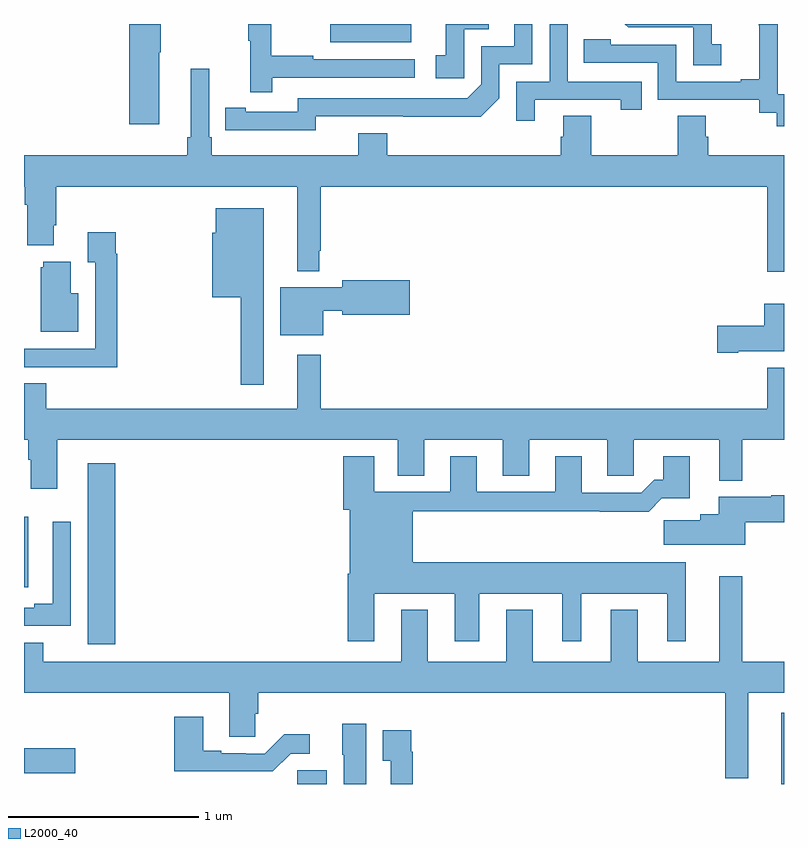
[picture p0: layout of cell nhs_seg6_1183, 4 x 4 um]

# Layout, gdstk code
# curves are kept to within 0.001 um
import gdstk
lib = gdstk.Library(unit=1e-6, precision=1e-09)
def R(c, l, rs):  # rectangles x0, y0, x1, y1
    for r in rs: c.add(gdstk.rectangle(r[:2], r[2:], *l))
def P(c, l, *ps):  # polygons
    for p in ps: c.add(gdstk.Polygon(p, *l))
L2000_40 = (2000, 40)

nhs_seg6_1183 = lib.new_cell('nhs_seg6_1183')
R(nhs_seg6_1183, L2000_40, [(184.438,969.5,184.594,969.573), (186.986,969.5,187,969.874), (183,969.557,183.271,969.687), (183.335,970.236,183.479,971.188), (183,970.535,183.022,970.906), (184.611,973.403,185.038,973.5)])
P(nhs_seg6_1183, L2000_40, [(187,973.131),(186.966,973.131),(186.966,973.361),(186.968,973.361),(186.968,973.5),(186.868,973.5),(186.868,973.493),(186.869,973.493),(186.869,973.21),(186.773,973.21),(186.773,973.197),(186.432,973.197),(186.432,973.392),(186.087,973.392),(186.087,973.419),(185.947,973.419),(185.947,973.296),(186.336,973.296),(186.336,973.101),(186.87,973.101),(186.87,973.033),(186.963,973.033),(186.963,972.963),(187,972.963)],
  [(184.536,973.014),(185.404,973.013),(185.502,973.11),(185.502,973.287),(185.676,973.287),(185.676,973.5),(185.579,973.5),(185.579,973.383),(185.406,973.383),(185.406,973.182),(185.334,973.11),(184.44,973.11),(184.44,973.038),(184.168,973.038),(184.168,973.058),(184.06,973.058),(184.06,972.942),(184.536,972.941)],
  [(184.307,973.218),(185.056,973.218),(185.056,973.314),(184.523,973.314),(184.523,973.334),(184.3,973.334),(184.3,973.5),(184.179,973.5),(184.179,973.411),(184.19,973.411),(184.19,973.14),(184.307,973.14)],
  [(183.712,973.351),(183.72,973.351),(183.72,973.5),(183.554,973.5),(183.554,972.972),(183.712,972.972)],
  [(185.689,973.101),(186.14,973.101),(186.14,973.05),(186.251,973.05),(186.251,973.197),(185.862,973.197),(185.862,973.5),(185.766,973.5),(185.766,973.197),(185.592,973.197),(185.592,972.99),(185.689,972.99)],
  [(186.67,973.393),(186.621,973.393),(186.621,973.5),(186.162,973.5),(186.18,973.482),(186.522,973.482),(186.522,973.284),(186.67,973.284)],
  [(185.316,973.473),(185.445,973.473),(185.445,973.5),(185.219,973.5),(185.219,973.335),(185.166,973.335),(185.166,973.215),(185.316,973.215)],
  [(187,972.808),(186.602,972.808),(186.602,972.906),(186.589,972.906),(186.589,973.016),(186.442,973.016),(186.442,972.808),(185.985,972.808),(185.985,973.016),(185.837,973.016),(185.837,972.906),(185.825,972.906),(185.825,972.808),(184.913,972.808),(184.913,972.925),(184.76,972.925),(184.76,972.808),(183.989,972.808),(183.989,972.904),(183.975,972.904),(183.975,973.264),(183.878,973.264),(183.878,972.904),(183.859,972.904),(183.859,972.808),(183,972.808),(183,972.644),(183.005,972.644),(183.005,972.548),(183.017,972.548),(183.017,972.335),(183.157,972.335),(183.157,972.442),(183.17,972.442),(183.17,972.644),(184.439,972.644),(184.439,972.2),(184.554,972.2),(184.554,972.307),(184.561,972.307),(184.561,972.644),(186.912,972.644),(186.912,972.195),(187,972.195)],
  [(184.261,972.529),(184.01,972.529),(184.01,972.402),(183.992,972.402),(183.992,972.062),(184.14,972.062),(184.14,971.601),(184.261,971.601)],
  [(183.491,972.29),(183.484,972.29),(183.484,972.403),(183.335,972.403),(183.335,972.247),(183.375,972.247),(183.375,971.79),(183,971.79),(183,971.694),(183.199,971.694),(183.199,971.693),(183.491,971.693)],
  [(183.286,972.082),(183.247,972.082),(183.247,972.25),(183.101,972.25),(183.101,972.219),(183.089,972.219),(183.089,971.879),(183.286,971.879)],
  [(184.576,971.992),(184.676,971.992),(184.676,971.969),(185.029,971.969),(185.029,972.152),(184.676,972.152),(184.676,972.115),(184.349,972.115),(184.349,971.861),(184.576,971.861)],
  [(186.76,971.777),(187,971.777),(187,972.028),(186.896,972.028),(186.896,971.912),(186.648,971.912),(186.648,971.77),(186.76,971.77)],
  [(183.175,971.312),(184.967,971.312),(184.967,971.122),(185.107,971.122),(185.107,971.312),(185.519,971.312),(185.519,971.122),(185.659,971.122),(185.659,971.312),(186.071,971.312),(186.071,971.122),(186.21,971.122),(186.21,971.312),(186.659,971.312),(186.659,971.096),(186.781,971.096),(186.781,971.312),(187,971.312),(187,971.692),(186.912,971.692),(186.912,971.476),(184.561,971.476),(184.561,971.758),(184.439,971.758),(184.439,971.476),(183.116,971.476),(183.116,971.609),(183,971.609),(183,971.312),(183.023,971.312),(183.023,971.206),(183.035,971.206),(183.035,971.055),(183.175,971.055)],
  [(184.843,970.502),(185.267,970.502),(185.267,970.251),(185.395,970.251),(185.395,970.502),(185.834,970.502),(185.834,970.251),(185.932,970.251),(185.932,970.502),(186.386,970.502),(186.386,970.251),(186.484,970.251),(186.484,970.666),(185.047,970.666),(185.047,970.936),(186.031,970.936),(186.031,970.934),(186.287,970.934),(186.356,971.003),(186.505,971.003),(186.505,971.224),(186.365,971.224),(186.365,971.101),(186.316,971.101),(186.249,971.034),(185.935,971.034),(185.935,971.224),(185.795,971.224),(185.795,971.037),(185.383,971.037),(185.383,971.224),(185.243,971.224),(185.243,971.037),(184.843,971.037),(184.843,971.224),(184.679,971.224),(184.679,970.944),(184.715,970.944),(184.715,970.606),(184.703,970.606),(184.703,970.251),(184.843,970.251)],
  [(186.796,970.877),(187,970.877),(187,971.019),(186.932,971.019),(186.932,971.011),(186.656,971.011),(186.656,970.921),(186.56,970.921),(186.56,970.889),(186.366,970.889),(186.366,970.76),(186.796,970.76)],
  [(183.246,970.879),(183.15,970.879),(183.15,970.448),(183.053,970.448),(183.053,970.428),(183,970.428),(183,970.332),(183.246,970.332)],
  [(183.1,970.243),(183,970.243),(183,969.98),(184.079,969.98),(184.079,969.748),(184.218,969.748),(184.218,969.87),(184.232,969.87),(184.232,969.98),(186.69,969.98),(186.69,969.531),(186.811,969.531),(186.811,969.98),(187,969.98),(187,970.144),(186.781,970.144),(186.781,970.594),(186.659,970.594),(186.659,970.144),(186.229,970.144),(186.229,970.417),(186.089,970.417),(186.089,970.144),(185.677,970.144),(185.677,970.417),(185.537,970.417),(185.537,970.144),(185.125,970.144),(185.125,970.417),(184.985,970.417),(184.985,970.144),(183.1,970.144)],
  [(184.404,969.66),(184.504,969.66),(184.504,969.763),(184.369,969.763),(184.266,969.66),(184.166,969.66),(184.166,969.663),(184.039,969.663),(184.039,969.676),(183.943,969.676),(183.943,969.853),(183.791,969.853),(183.791,969.566),(184.309,969.566)],
  [(184.801,969.817),(184.676,969.817),(184.676,969.654),(184.682,969.654),(184.682,969.5),(184.801,969.5)],
  [(185.045,969.671),(185.038,969.671),(185.038,969.784),(184.889,969.784),(184.889,969.623),(184.929,969.623),(184.929,969.5),(185.045,969.5)])

lib.write_gds('nhs_seg6_1183.gds')
